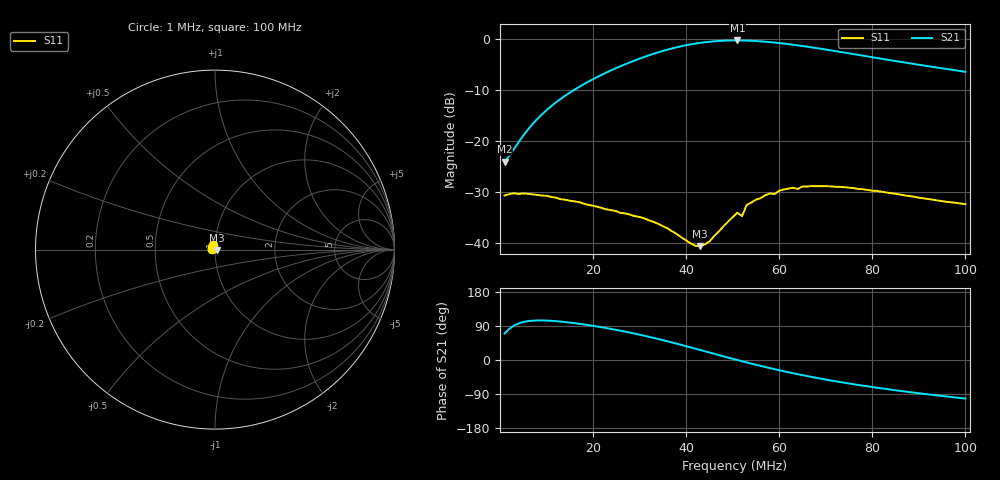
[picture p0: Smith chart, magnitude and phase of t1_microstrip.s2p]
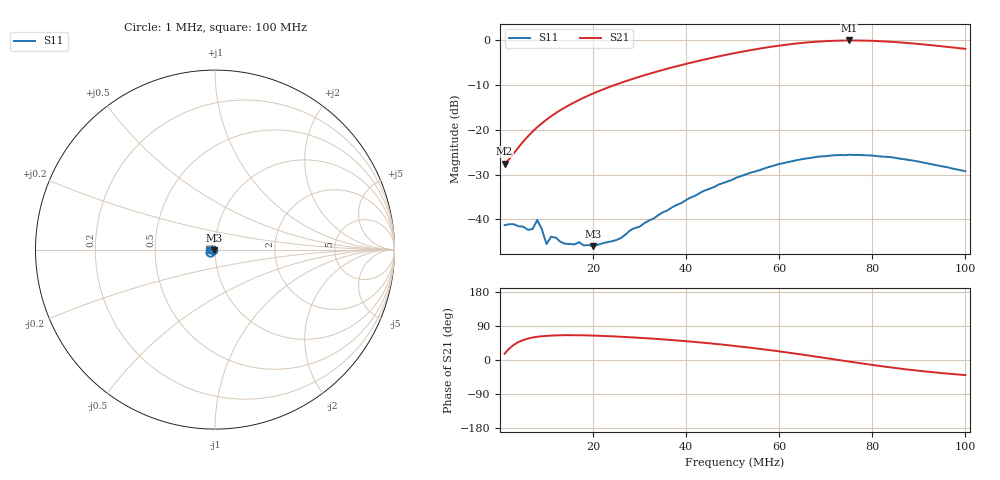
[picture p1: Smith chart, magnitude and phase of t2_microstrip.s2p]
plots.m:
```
%% Analisis de todas las mediciones de los distintos circuitos
clc; clear; close all;

fsize1 = 32;
fsize2 = 60;
lwidth = 2;
msize1 = 16;
mindex = 10;
plotPDF = true;

if (plotPDF)
    window="maximized";
else
    window="normal";
end
blue1 = [0, 0 ,1];
%blue1 = [0.3010, 0.7450, 0.9330];
blue2 = [0, 0.4470, 0.7410];
red1 = [0.8500, 0.3250, 0.0980];
red2 = [0.6350, 0.0780, 0.1840];
green1 = [0.4660, 0.6740, 0.1880];
green2 = [0, 0.5, 0];
violet1 = [0.4940, 0.1840, 0.5560];
violet2 = [0.75, 0, 0.75];

%% Filtro T
[freq_t1, s11_t1, s21_t1] = file2s("mediciones/individuales/t1_microstrip.s2p");
[freq_t2, s11_t2, s21_t2] = file2s("mediciones/individuales/t2_microstrip.s2p");
[freq_t3, s11_t3, s21_t3] = file2s("mediciones/individuales/t3_microstrip.s2p");

fig1 = figure(WindowState=window);
plot(freq_t1, s11_t1, ...
    LineWidth=lwidth, Marker="square", MarkerSize=msize1, Color=blue2, ...
    DisplayName="T1: $|S_{11}|$", MarkerIndices=1:mindex:length(freq_t1)); hold on;
plot(freq_t2, s11_t2, ...
    LineWidth=lwidth, Marker="diamond", MarkerSize=msize1, Color=red2, ...
    DisplayName="T2: $|S_{11}|$", MarkerIndices=1:mindex:length(freq_t2)); hold on;
plot(freq_t3, s11_t3, ...
    LineWidth=lwidth, Marker="^", MarkerSize=msize1, Color=green2, ...
    DisplayName="T3: $|S_{11}|$", MarkerIndices=1:mindex:length(freq_t3)); hold on;

plot(freq_t1, s21_t1, ...
    LineWidth=lwidth, Marker="x", MarkerSize=msize1, Color=blue1, ...
    DisplayName="$|S_{21}|$", MarkerIndices=1:mindex:length(freq_t1)); hold on;
plot(freq_t2, s21_t2, ...
    LineWidth=lwidth, Marker=".", MarkerSize=msize1, Color=red1, ...
    DisplayName="$|S_{21}|$", MarkerIndices=1:mindex:length(freq_t2)); hold on;
plot(freq_t3, s21_t3, ...
    LineWidth=lwidth, Marker="v", MarkerSize=msize1, Color=green1, ...
    DisplayName="$|S_{21}|$", MarkerIndices=1:mindex:length(freq_t3)); hold on;

lgd = legend(Interpreter="latex", FontSize=fsize1, Location="southeast");
lgd.NumColumns = 2;
title(lgd, "T-bridge filters", Interpreter="latex");
ylabel("S-parameters [dB]", FontSize=fsize1, Interpreter="latex");
xlabel("Frequency [MHz]", FontSize=fsize1, Interpreter="latex");
xlim([min(freq_t1), max(freq_t1)])
grid on;
fontsize(gca, fsize1, "points");
set(gca,'TickLabelInterpreter','latex');

%% Amplificador BGA
[freq_bga, s11_bga, s21_bga, s22_bga, s12_bga] = file2s("mediciones/individuales/bga616_a_5v.s2p");

fig2 = figure(WindowState=window);
plot(freq_bga, s11_bga, ...
    LineWidth=lwidth, Marker="square", MarkerSize=msize1, ...
    DisplayName="$|S_{11}|$", MarkerIndices=1:mindex:length(freq_bga)); hold on;
plot(freq_bga, s21_bga, ...
    LineWidth=lwidth, Marker="x", MarkerSize=msize1, ...
    DisplayName="$|S_{21}|$", MarkerIndices=1:mindex:length(freq_bga)); hold on;
plot(freq_bga, s22_bga, ...
    LineWidth=lwidth, Marker="^", MarkerSize=msize1, ...
    DisplayName="$|S_{22}|$", MarkerIndices=1:mindex:length(freq_bga)); hold on;

lgd = legend(Interpreter="latex", FontSize=fsize2, Location="east");
lgd.NumColumns = 3;
title(lgd, "Amp. BGA616", Interpreter="latex");
ylabel("S-parameters [dB]", FontSize=fsize2, Interpreter="latex");
xlabel("Frequency [MHz]", FontSize=fsize2, Interpreter="latex");
xlim([min(freq_bga), max(freq_bga)])
grid on;
fontsize(gca, fsize2, "points");
set(gca,'TickLabelInterpreter','latex');

%% Amplificador TX AMP
[freq_tx_amp, s11_tx_amp, s21_tx_amp, s22_tx_amp, s12_tx_amp] = file2s("mediciones/individuales/tx_amp_b_12v.s2p");

fig3 = figure(WindowState=window);
plot(freq_tx_amp, s11_tx_amp, ...
    LineWidth=lwidth, Marker="square", MarkerSize=msize1, ...
    DisplayName="$|S_{11}|$", MarkerIndices=1:mindex:length(freq_tx_amp)); hold on;
plot(freq_tx_amp, s21_tx_amp, ...
    LineWidth=lwidth, Marker="x", MarkerSize=msize1, ...
    DisplayName="$|S_{21}|$", MarkerIndices=1:mindex:length(freq_tx_amp)); hold on;
plot(freq_tx_amp, s22_tx_amp, ...
    LineWidth=lwidth, Marker="^", MarkerSize=msize1, ...
    DisplayName="$|S_{22}|$", MarkerIndices=1:mindex:length(freq_tx_amp)); hold on;

lgd = legend(Interpreter="latex", FontSize=fsize2, Position=[0.69,0.6,0.1,0.1]);
lgd.NumColumns = 3;
title(lgd, "Amp. BRF740L3RH", Interpreter="latex");
ylabel("S-parameters [dB]", FontSize=fsize2, Interpreter="latex");
xlabel("Frequency [MHz]", FontSize=fsize2, Interpreter="latex");
xlim([min(freq_tx_amp), max(freq_tx_amp)])
grid on;
fontsize(gca, fsize2, "points");
set(gca,'TickLabelInterpreter','latex');

%% Amplificador FCA
[freq_fca, s11_fca, s21_fca, s22_fca, s12_fca] = file2s("mediciones/individuales/fca_chb_00.s2p");

fig4 = figure(WindowState=window);
plot(freq_fca, s11_fca, ...
    LineWidth=lwidth, Marker="square", MarkerSize=msize1, ...
    DisplayName="$|S_{11}|$", MarkerIndices=1:mindex:length(freq_fca)); hold on;
plot(freq_fca, s21_fca, ...
    LineWidth=lwidth, Marker="x", MarkerSize=msize1, ...
    DisplayName="$|S_{21}|$", MarkerIndices=1:mindex:length(freq_fca)); hold on;
plot(freq_fca, s22_fca, ...
    LineWidth=lwidth, Marker="^", MarkerSize=msize1, ...
    DisplayName="$|S_{22}|$", MarkerIndices=1:mindex:length(freq_fca)); hold on;

lgd = legend(Interpreter="latex", FontSize=fsize2, Location="east");
lgd.NumColumns = 3;
title(lgd, "Amp. OPA2675", Interpreter="latex");
ylabel("S-parameters [dB]", FontSize=fsize2, Interpreter="latex");
xlabel("Frequency [MHz]", FontSize=fsize2, Interpreter="latex");
xlim([min(freq_fca), max(freq_fca)])
grid on;
fontsize(gca, fsize2, "points");
set(gca,'TickLabelInterpreter','latex');

%% TIA LTC
[freq_ltc, s11_ltc, s21_ltc, s22_ltc, s12_ltc] = file2s("mediciones/individuales/tia_ltc_pd.s2p");

fig5 = figure(WindowState=window);
plot(freq_ltc, s11_ltc, ...
    LineWidth=lwidth, Marker="square", MarkerSize=msize1, ...
    DisplayName="$|S_{11}|$", MarkerIndices=1:mindex:length(freq_ltc)); hold on;
plot(freq_ltc, s21_ltc, ...
    LineWidth=lwidth, Marker="x", MarkerSize=msize1, ...
    DisplayName="$|S_{21}|$", MarkerIndices=1:mindex:length(freq_ltc)); hold on;
plot(freq_ltc, s22_ltc, ...
    LineWidth=lwidth, Marker="^", MarkerSize=msize1, ...
    DisplayName="$|S_{22}|$", MarkerIndices=1:mindex:length(freq_ltc)); hold on;

lgd = legend(Interpreter="latex", FontSize=fsize2, Location="southeast");
lgd.NumColumns = 3;
title(lgd, "TIA LTC6268-10", Interpreter="latex");
ylabel("S-parameters [dB]", FontSize=fsize2, Interpreter="latex");
xlabel("Frequency [MHz]", FontSize=fsize2, Interpreter="latex");
xlim([min(freq_ltc), max(freq_ltc)])
grid on;
fontsize(gca, fsize2, "points");
set(gca,'TickLabelInterpreter','latex');

%% TIA LMH
[freq_lmh, s11_lmh, s21_lmh, s22_lmh, s12_lmh] = file2s("mediciones/individuales/lmh34400_pd.s2p");

fig6 = figure(WindowState=window);
plot(freq_lmh, s11_lmh, ...
    LineWidth=lwidth, Marker="square", MarkerSize=msize1, ...
    DisplayName="$|S_{11}|$", MarkerIndices=1:mindex:length(freq_lmh)); hold on;
plot(freq_lmh, s21_lmh, ...
    LineWidth=lwidth, Marker="x", MarkerSize=msize1, ...
    DisplayName="$|S_{21}|$", MarkerIndices=1:mindex:length(freq_lmh)); hold on;
plot(freq_lmh, s22_lmh, ...
    LineWidth=lwidth, Marker="^", MarkerSize=msize1, ...
    DisplayName="$|S_{22}|$", MarkerIndices=1:mindex:length(freq_lmh)); hold on;

lgd = legend(Interpreter="latex", FontSize=fsize2, Location="southeast");
lgd.NumColumns = 3;
title(lgd, "TIA LMH34400", Interpreter="latex");
ylabel("S-parameters [dB]", FontSize=fsize2, Interpreter="latex");
xlabel("Frequency [MHz]", FontSize=fsize2, Interpreter="latex");
xlim([min(freq_lmh), max(freq_lmh)])
grid on;
fontsize(gca, fsize2, "points");
set(gca,'TickLabelInterpreter','latex');

%% Parcial tx - error
[freq_t3_fca, s11_t3_fca, s21_t3_fca] = file2s("mediciones/parciales_tx/t3__fca_12v.s2p");
[freq_t3_bga_fca, s11_t3_bga_fca, s21_t3_bga_fca] = file2s("mediciones/parciales_tx/t3__bga__fca_12v.s2p");

fig7 = figure(WindowState=window);
plot(freq_t3_fca, s11_t3_fca, ...
    LineWidth=lwidth, Marker="square", MarkerSize=msize1, Color=blue2, ...
    DisplayName="T3 + OPA2675: $|S_{11}|$", MarkerIndices=1:mindex:length(freq_t3_fca)); hold on;
plot(freq_t3_bga_fca, s11_t3_bga_fca, ...
    LineWidth=lwidth, Marker="diamond", MarkerSize=msize1, Color=red2, ...
    DisplayName="T3 + BGA + OPA2675: $|S_{11}|$", MarkerIndices=1:mindex:length(freq_t3_bga_fca)); hold on;

plot(freq_t3_fca, s21_t3_fca, ...
    LineWidth=lwidth, Marker="x", MarkerSize=msize1, Color=blue1, ...
    DisplayName="$|S_{21}|$", MarkerIndices=1:mindex:length(freq_t3_fca)); hold on;
plot(freq_t3_bga_fca, s21_t3_bga_fca, ...
    LineWidth=lwidth, Marker=".", MarkerSize=msize1, Color=red1, ...
    DisplayName="$|S_{21}|$", MarkerIndices=1:mindex:length(freq_t3_bga_fca)); hold on;

lgd = legend(Interpreter="latex", FontSize=fsize1, Location="southeast");
lgd.NumColumns = 2;
title(lgd, "Tx iterations", Interpreter="latex");
ylabel("S-parameters [dB]", FontSize=fsize1, Interpreter="latex");
xlabel("Frequency [MHz]", FontSize=fsize1, Interpreter="latex");
xlim([min(freq_lmh), max(freq_lmh)])
grid on;
fontsize(gca, fsize1, "points");
set(gca,'TickLabelInterpreter','latex');

%% Parcial tx - correcto
[freq_t2_bga_t3_fca, s11_t2_bga_t3_fca, s21_t2_bga_t3_fca] = file2s("mediciones/parciales_tx/t2__bga__t3__fca12v.s2p");

fig8 = figure(WindowState=window);
plot(freq_t2_bga_t3_fca, s11_t2_bga_t3_fca, ...
    LineWidth=lwidth, Marker="square", MarkerSize=msize1, ...
    DisplayName="$|S_{11}|$", MarkerIndices=1:mindex:length(freq_t2_bga_t3_fca)); hold on;
plot(freq_t2_bga_t3_fca, s21_t2_bga_t3_fca, ...
    LineWidth=lwidth, Marker="x", MarkerSize=msize1, ...
    DisplayName="$|S_{21}|$", MarkerIndices=1:mindex:length(freq_t2_bga_t3_fca)); hold on;

lgd = legend(Interpreter="latex", FontSize=fsize1, Location="southeast");
lgd.NumColumns = 2;
title(lgd, "Complete Tx (T2+T3)", Interpreter="latex");
ylabel("S-parameters [dB]", FontSize=fsize1, Interpreter="latex");
xlabel("Frequency [MHz]", FontSize=fsize1, Interpreter="latex");
xlim([min(freq_lmh), max(freq_lmh)])
grid on;
fontsize(gca, fsize1, "points");
set(gca,'TickLabelInterpreter','latex');

%% Full lowpasss
[freq_t3_bga_fca_led_sfh_ltc_bga, s11_t3_bga_fca_led_sfh_ltc_bga, s21_t3_bga_fca_led_sfh_ltc_bga] = file2s("mediciones/full/t3__bga__fca12v__led21__sfh203__ltc__bga.s2p");

fig9 = figure(WindowState=window);
plot(freq_t3_bga_fca_led_sfh_ltc_bga, s11_t3_bga_fca_led_sfh_ltc_bga, ...
    LineWidth=lwidth, Marker="square", MarkerSize=msize1, ...
    DisplayName="$|S_{11}|$", MarkerIndices=1:mindex:length(freq_t3_bga_fca_led_sfh_ltc_bga)); hold on;
plot(freq_t3_bga_fca_led_sfh_ltc_bga, s21_t3_bga_fca_led_sfh_ltc_bga, ...
    LineWidth=lwidth, Marker="x", MarkerSize=msize1, ...
    DisplayName="$|S_{21}|$", MarkerIndices=1:mindex:length(freq_t3_bga_fca_led_sfh_ltc_bga)); hold on;

lgd = legend(Interpreter="latex", FontSize=fsize1, Location="southeast");
lgd.NumColumns = 2;
title(lgd, "Tx-Rx (only T3)", Interpreter="latex");
ylabel("S-parameters [dB]", FontSize=fsize1, Interpreter="latex");
xlabel("Frequency [MHz]", FontSize=fsize1, Interpreter="latex");
xlim([min(freq_t3_bga_fca_led_sfh_ltc_bga), max(freq_t3_bga_fca_led_sfh_ltc_bga)])
grid on;
fontsize(gca, fsize1, "points");
set(gca,'TickLabelInterpreter','latex');

%% Full final
[freq_t2_bga_t3_fca_led_sfh_ltc_bga, s11_t2_bga_t3_fca_led_sfh_ltc_bga, s21_t2_bga_t3_fca_led_sfh_ltc_bga] = file2s("mediciones/full/t2__bga__t3__fca12v__led21__sfh203__ltc__bga.s2p");

fig10 = figure(WindowState=window);
plot(freq_t2_bga_t3_fca_led_sfh_ltc_bga, s11_t2_bga_t3_fca_led_sfh_ltc_bga, ...
    LineWidth=lwidth, Marker="square", MarkerSize=msize1, ...
    DisplayName="$|S_{11}|$", MarkerIndices=1:mindex:length(freq_t2_bga_t3_fca_led_sfh_ltc_bga)); hold on;
plot(freq_t2_bga_t3_fca_led_sfh_ltc_bga, s21_t2_bga_t3_fca_led_sfh_ltc_bga, ...
    LineWidth=lwidth, Marker="x", MarkerSize=msize1, ...
    DisplayName="$|S_{21}|$", MarkerIndices=1:mindex:length(freq_t2_bga_t3_fca_led_sfh_ltc_bga)); hold on;

lgd = legend(Interpreter="latex", FontSize=fsize1, Location="southeast");
lgd.NumColumns = 1;
ylabel("S-parameters [dB]", FontSize=fsize1, Interpreter="latex");
xlabel("Frequency [MHz]", FontSize=fsize1, Interpreter="latex");
xlim([min(freq_t3_bga_fca_led_sfh_ltc_bga), max(freq_t3_bga_fca_led_sfh_ltc_bga)])
grid on;
fontsize(gca, fsize1, "points");
set(gca,'TickLabelInterpreter','latex');

%% Saving as pdf
if (plotPDF)
    exportgraphics(fig1, 'pdf/filtro_t.pdf', ContentType='vector');
    exportgraphics(fig2, 'pdf/amp_bga.pdf', ContentType='vector');
    exportgraphics(fig3, 'pdf/amp_brf.pdf', ContentType='vector');
    exportgraphics(fig4, 'pdf/fca.pdf', ContentType='vector');
    exportgraphics(fig5, 'pdf/tia_ltc.pdf', ContentType='vector');
    exportgraphics(fig6, 'pdf/tia_lmh.pdf', ContentType='vector');
    exportgraphics(fig7, 'pdf/parcial_tx_error.pdf', ContentType='vector');
    exportgraphics(fig8, 'pdf/parcial_tx_ok.pdf', ContentType='vector');
    exportgraphics(fig9, 'pdf/full_error.pdf', ContentType='vector');
    exportgraphics(fig10, 'pdf/full_ok.pdf', ContentType='vector');
end

close all;
```
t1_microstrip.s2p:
# HZ S RI R 50
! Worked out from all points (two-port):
!   100 points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, 1 MHz to 100 MHz, reference 50 ohm
!   highest |S21| = -0.33 dB at 51 MHz (marker M1); lowest = -24.1 dB at 1 MHz (marker M2)
!   |S21| within 3 dB of the highest: 31.72 MHz to 78.15 MHz (46.43 MHz wide, 84.5 % of centre)
!   lowest |S11| = -40.6 dB at 43 MHz (marker M3), VSWR 1.02, Z = 50.9 - j0.174 ohm
!   |S11| at or under -10 dB: start of sweep to end of sweep
!   S12 and S22 are empty: the file has one direction only
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1000001  -0.0102 0.0274  0.0215 0.0587  0 0  0 0
1e7  -0.00526 0.0286  -0.0487 0.1939  0 0  0 0
2.2e7  -0.000223 0.022  0.0304 0.4458  0 0  0 0
3.4e7  0.00525 0.0145  0.4182 0.606  0 0  0 0
4.3e7  0.00918 -0.00171  0.8161 0.4068  0 0  0 0
5.1e7  -0.00469 -0.0193  0.9622 -0.000484  0 0  0 0
5.2e7  -0.00503 -0.0177  0.9597 -0.0555  0 0  0 0
6e7  -0.0281 -0.0165  0.8085 -0.4116  0 0  0 0
6.9e7  -0.036 -0.00172  0.5185 -0.6052  0 0  0 0
8.4e7  -0.0288 0.011  0.1254 -0.6028  0 0  0 0
1e8  -0.0216 0.0107  -0.0962 -0.4651  0 0  0 0
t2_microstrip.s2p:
# HZ S RI R 50
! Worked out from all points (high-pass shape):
!   100 points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, 1 MHz to 100 MHz, reference 50 ohm
!   highest |S21| = -0.06 dB at 75 MHz (marker M1); lowest = -27.5 dB at 1 MHz (marker M2)
!   |S21| within 3 dB of the highest: 49.59 MHz to end of sweep
!   lowest |S11| = -46.0 dB at 20 MHz (marker M3), VSWR 1.01, Z = 49.6 - j0.308 ohm
!   |S11| at or under -10 dB: start of sweep to end of sweep
!   S12 and S22 are empty: the file has one direction only
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1000001  -0.00863 0.00031  0.0403 0.0121  0 0  0 0
7000001  -0.0078 0.0004  0.0487 0.0821  0 0  0 0
8000001  -0.00986 0.00039  0.0516 0.0938  0 0  0 0
1e7  -0.00532 0.000154  0.0578 0.1164  0 0  0 0
1.1e7  -0.00633 0.00109  0.0615 0.1279  0 0  0 0
2e7  -0.00397 -0.0031  0.1097 0.229  0 0  0 0
5.1e7  -0.00448 -0.0293  0.5856 0.4309  0 0  0 0
6.2e7  -0.0197 -0.0392  0.8457 0.2973  0 0  0 0
7.5e7  -0.0428 -0.0307  0.9907 -0.0718  0 0  0 0
8.7e7  -0.0454 -0.0116  0.8537 -0.3828  0 0  0 0
1e8  -0.0344 -0.00358  0.6147 -0.5123  0 0  0 0
